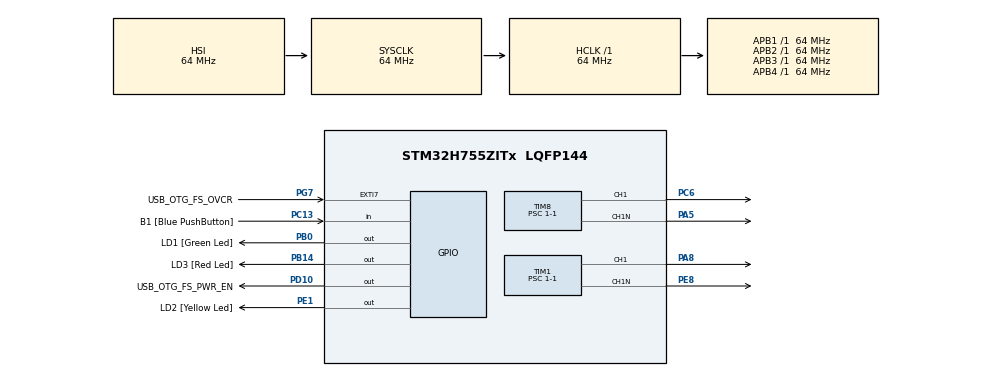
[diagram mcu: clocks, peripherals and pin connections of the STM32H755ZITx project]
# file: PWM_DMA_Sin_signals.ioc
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CortexM4.IPs=FATFS_M4\:I,FREERTOS_M4\:I,IWDG2\:I,RCC,WWDG2\:I,DMA,BDMA,MDMA,NVIC2\:I,DEBUG,USB_DEVICE_M4\:I,USB_HOST_M4\:I,PDM2PCM_M4\:I,PWR,RESMGR_UTILITY,SYS_M4\:I,CORTEX_M4\:I,OPENAMP_M4\:I,VREFBUF,GPIO
CortexM7.IPs=FATFS_M7\:I,FREERTOS_M7\:I,IWDG1\:I,RCC\:I,WWDG1\:I,DMA\:I,BDMA\:I,MDMA\:I,NVIC1\:I,SYS\:I,CORTEX_M7\:I,DEBUG\:I,USB_DEVICE_M7\:I,USB_HOST_M7\:I,PDM2PCM_M7\:I,PWR\:I,RESMGR_UTILITY\:I,OPENAMP_M7\:I,VREFBUF\:I,GPIO\:I,TIM1\:I,TIM8\:I
Dma.Request0=TIM1_CH1
Dma.TIM1_CH1.0.Direction=DMA_MEMORY_TO_PERIPH
Dma.TIM1_CH1.0.EventEnable=DISABLE
Dma.TIM1_CH1.0.FIFOMode=DMA_FIFOMODE_ENABLE
Dma.TIM1_CH1.0.FIFOThreshold=DMA_FIFO_THRESHOLD_FULL
Dma.TIM1_CH1.0.Instance=DMA1_Stream1
Dma.TIM1_CH1.0.MemBurst=DMA_MBURST_SINGLE
Dma.TIM1_CH1.0.MemDataAlignment=DMA_MDATAALIGN_WORD
Dma.TIM1_CH1.0.MemInc=DMA_MINC_ENABLE
Dma.TIM1_CH1.0.Mode=DMA_CIRCULAR
Dma.TIM1_CH1.0.PeriphBurst=DMA_PBURST_SINGLE
Dma.TIM1_CH1.0.PeriphDataAlignment=DMA_PDATAALIGN_WORD
Dma.TIM1_CH1.0.PeriphInc=DMA_PINC_DISABLE
Dma.TIM1_CH1.0.Polarity=HAL_DMAMUX_REQ_GEN_RISING
Dma.TIM1_CH1.0.Priority=DMA_PRIORITY_LOW
Dma.TIM1_CH1.0.RequestNumber=1
Dma.TIM1_CH1.0.SignalID=NONE
Dma.TIM1_CH1.0.SyncEnable=DISABLE
Dma.TIM1_CH1.0.SyncPolarity=HAL_DMAMUX_SYNC_NO_EVENT
Dma.TIM1_CH1.0.SyncRequestNumber=1
Dma.TIM1_CH1.0.SyncSignalID=NONE
Mcu.Family=STM32H7
Mcu.Name=STM32H755ZITx
Mcu.Package=LQFP144
NVIC1.DMA1_Stream1_IRQn=true\:0\:0\:false\:false\:true\:false\:true\:true
NVIC1.PriorityGroup=NVIC_PRIORITYGROUP_4
NVIC2.PriorityGroup=NVIC_PRIORITYGROUP_4
PA1.PinAttribute=CortexM4
PA1.Signal=ETH_REF_CLK
PA11.PinAttribute=CortexM7
PA11.Signal=USB_OTG_FS_DM
PA12.PinAttribute=CortexM7
PA12.Signal=USB_OTG_FS_DP
PA2.PinAttribute=CortexM4
PA2.Signal=ETH_MDIO
PA5.Mode=PWM Generation1 CH1 CH1N
PA5.PinAttribute=CortexM7
PA5.Signal=TIM8_CH1N
PA7.PinAttribute=CortexM4
PA7.Signal=ETH_CRS_DV
PA8.PinAttribute=CortexM7
PA8.Signal=S_TIM1_CH1
PA9.PinAttribute=CortexM7
PA9.Signal=USB_OTG_FS_VBUS
PB0.GPIO_Label=LD1 [Green Led]
PB0.PinAttribute=Free
PB0.Signal=GPIO_Output
PB13.PinAttribute=CortexM4
PB13.Signal=ETH_TXD1
PB14.GPIO_Label=LD3 [Red Led]
PB14.PinAttribute=Free
PB14.Signal=GPIO_Output
PC1.PinAttribute=CortexM4
PC1.Signal=ETH_MDC
PC13.GPIO_Label=B1 [Blue PushButton]
PC13.PinAttribute=Free
PC13.Signal=GPIO_Input
PC14-OSC32_IN\ (OSC32_IN).Mode=LSE-External-Oscillator
PC14-OSC32_IN\ (OSC32_IN).PinAttribute=CortexM7
PC14-OSC32_IN\ (OSC32_IN).Signal=RCC_OSC32_IN
PC15-OSC32_OUT\ (OSC32_OUT).Mode=LSE-External-Oscillator
PC15-OSC32_OUT\ (OSC32_OUT).PinAttribute=CortexM7
PC15-OSC32_OUT\ (OSC32_OUT).Signal=RCC_OSC32_OUT
PC4.PinAttribute=CortexM4
PC4.Signal=ETH_RXD0
PC5.PinAttribute=CortexM4
PC5.Signal=ETH_RXD1
PC6.PinAttribute=CortexM7
PC6.Signal=S_TIM8_CH1
PD10.GPIO_Label=USB_OTG_FS_PWR_EN
PD10.PinAttribute=Free
PD10.Signal=GPIO_Output
PD8.GPIO_Label=STLINK_RX
PD8.PinAttribute=CortexM4
PD8.Signal=USART3_TX
PD9.GPIO_Label=STLINK_TX
PD9.PinAttribute=CortexM4
PD9.Signal=USART3_RX
PE1.GPIO_Label=LD2 [Yellow Led]
PE1.PinAttribute=Free
PE1.Signal=GPIO_Output
PE8.Mode=PWM Generation1 CH1 CH1N
PE8.PinAttribute=CortexM7
PE8.Signal=TIM1_CH1N
PG11.PinAttribute=CortexM4
PG11.Signal=ETH_TX_EN
PG13.PinAttribute=CortexM4
PG13.Signal=ETH_TXD0
PG7.GPIO_Label=USB_OTG_FS_OVCR
PG7.PinAttribute=Free
PG7.Signal=GPXTI7
PH0-OSC_IN\ (PH0).Mode=HSE-External-Clock-Source
PH0-OSC_IN\ (PH0).PinAttribute=CortexM7
PH0-OSC_IN\ (PH0).Signal=RCC_OSC_IN
PH1-OSC_OUT\ (PH1).PinAttribute=CortexM7
PH1-OSC_OUT\ (PH1).Signal=RCC_OSC_OUT
ProjectManager.HeapSize=M4-0x200,M7-0x200
ProjectManager.StackSize=M4-0x400,M7-0x400
ProjectManager.TargetToolchain=STM32CubeIDE
RCC.ADCFreq_Value=16125000
RCC.APB1Freq_Value=64000000
RCC.APB2Freq_Value=64000000
RCC.APB3Freq_Value=64000000
RCC.APB4Freq_Value=64000000
RCC.CortexFreq_Value=64000000
RCC.DIVM1=1
RCC.DIVN1=24
RCC.DIVQ1=4
RCC.HCLKFreq_Value=64000000
RCC.HSE_VALUE=8000000
RCC.PLL2FRACN=0
RCC.PLL3FRACN=0
RCC.PLLFRACN=0
RCC.PLLSourceVirtual=RCC_PLLSOURCE_HSE
RCC.PWR_Regulator_Voltage_Scale=PWR_REGULATOR_VOLTAGE_SCALE2
RCC.SYSCLKFreq_VALUE=64000000
RCC.SupplySource=PWR_DIRECT_SMPS_SUPPLY
RCC.USBFreq_Value=48000000
SH.S_TIM1_CH1.0=TIM1_CH1,PWM Generation1 CH1 CH1N
SH.S_TIM8_CH1.0=TIM8_CH1,PWM Generation1 CH1 CH1N
TIM1.AutoReloadPreload=TIM_AUTORELOAD_PRELOAD_ENABLE
TIM1.Channel-Output\ Compare2\ No\ Output=TIM_CHANNEL_2
TIM1.Channel-PWM\ Generation1\ CH1\ CH1N=TIM_CHANNEL_1
TIM1.CounterMode=TIM_COUNTERMODE_CENTERALIGNED1
TIM1.OCMode_2=TIM_OCMODE_ACTIVE
TIM1.Period=30000
TIM1.Prescaler=1-1
TIM1.Pulse-PWM\ Generation1\ CH1\ CH1N=1
TIM1.TIM_MasterOutputTrigger=TIM_TRGO_OC2REF
TIM8.AutoReloadPreload=TIM_AUTORELOAD_PRELOAD_ENABLE
TIM8.Channel-PWM\ Generation1\ CH1\ CH1N=TIM_CHANNEL_1
TIM8.Prescaler=1-1
TIM8.Pulse-PWM\ Generation1\ CH1\ CH1N=1
VP_SYS_M4_VS_Systick.Mode=SysTick
VP_TIM1_VS_no_output2.Mode=Output Compare2 No Output
VP_TIM8_VS_ClockSourceITR.Mode=TriggerSource_ITR0
VP_TIM8_VS_ControllerModeTrigger.Mode=Trigger Mode
board=NUCLEO-H755ZI-Q

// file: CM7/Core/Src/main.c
/* USER CODE BEGIN Header */
/**
 ******************************************************************************
 * @file           : main.c
 * @brief          : Main program body
 ******************************************************************************
 * @attention
 *
 * Copyright (c) 2024 STMicroelectronics.
 * All rights reserved.
 *
 * This software is licensed under terms that can be found in the LICENSE file
 * in the root directory of this software component.
 * If no LICENSE file comes with this software, it is provided AS-IS.
 *
 ******************************************************************************
 */
/* USER CODE END Header */
#include "main.h"

/* USER CODE BEGIN PD */

#ifndef HSEM_ID_0
#define HSEM_ID_0 (0U) /* HW semaphore 0*/
#endif

/* USER CODE END PD */

TIM_HandleTypeDef htim1;
TIM_HandleTypeDef htim8;
DMA_HandleTypeDef hdma_tim1_ch1;

/* USER CODE BEGIN PV */
#define CCRValue_BufferSize     37

ALIGN_32BYTES (uint32_t DiscontinuousSineCCRValue_Buffer[CCRValue_BufferSize]) =
{
		14999, 17603, 20128, 22498, 24640, 26488, 27988, 29093, 29770,
		29998, 29770, 29093, 27988, 26488, 24640, 22498, 20128, 17603,
		14999, 12394, 9869, 7499, 5357, 3509, 2009, 904, 227, 1, 227,
		904, 2009, 3509, 5357, 7499, 9869, 12394, 14999
};

//ALIGN_32BYTES (uint32_t DiscontinuousSineCCRValue_Buffer_2[CCRValue_BufferSize]) =
//{
//		(14999/2), (17603/2), (20128/2), (22498/2), (24640/2), (26488/2), (27988/2), (29093/2), (29770/2),
//		(29998/2), (29770/2), (29093/2), (27988/2), (26488/2), (24640/2), (22498/2), (20128/2), (17603/2),
//		(14999/2), (12394/2), (9869/2), (7499/2), (5357/2), (3509/2), (2009/2), (904/2), (227/2), (1/2), (227/2),
//		(904/2), (2009/2), (3509/2), (5357/2), (7499/2), (9869/2), (12394/2), (14999/2)
//};

ALIGN_32BYTES (uint32_t DiscontinuousSineCCRValue_Buffer_2[CCRValue_BufferSize]) =
{
    7499, 8801, 10064, 11249, 12320, 13244, 13994, 14546, 14885,
    14999, 14885, 14546, 13994, 13244, 12320, 11249, 10064, 8801,
    7499, 6197, 4934, 3749, 2678, 1754, 1004, 452, 113, 1, 113,
    452, 1004, 1754, 2678, 3749, 4934, 6197, 7499
};

ALIGN_32BYTES (uint32_t DiscontinuousSineCCRValue_Buffer_3[CCRValue_BufferSize]) =
{
		(14999/3.46875), (17603/3.46875), (20128/3.46875), (22498/3.46875), (24640/3.46875), (26488/3.46875), (27988/3.46875), (29093/3.46875), (29770/3.46875),
		(29998/3.46875), (29770/3.46875), (29093/3.46875), (27988/3.46875), (26488/3.46875), (24640/3.46875), (22498/3.46875), (20128/3.46875), (17603/3.46875),
		(14999/3.46875), (12394/3.46875), (9869/3.46875), (7499/3.46875), (5357/3.46875), (3509/3.46875), (2009/3.46875), (904/3.46875), (227/3.46875), 1, (227/3.46875),
		(904/3.46875), (2009/3.46875), (3509/3.46875), (5357/3.46875), (7499/3.46875), (9869/3.46875), (12394/3.46875), (14999/3.46875)
};
/* USER CODE END PV */

void SystemClock_Config(void);
static void MX_GPIO_Init(void);
static void MX_DMA_Init(void);
static void MX_TIM1_Init(void);
static void MX_TIM8_Init(void);

int main(void)
{
  /* USER CODE BEGIN 1 */
	/*Enable I-Cache---------------------------------------------------------*/
	SCB_EnableICache();

	/* Enable D-Cache---------------------------------------------------------*/
	SCB_EnableDCache();
  /* USER CODE END 1 */
/* USER CODE BEGIN Boot_Mode_Sequence_0 */
	int32_t timeout;
/* USER CODE END Boot_Mode_Sequence_0 */

/* USER CODE BEGIN Boot_Mode_Sequence_1 */
	/* Wait until CPU2 boots and enters in stop mode or timeout*/
	timeout = 0xFFFF;
	while((__HAL_RCC_GET_FLAG(RCC_FLAG_D2CKRDY) != RESET) && (timeout-- > 0));
	if ( timeout < 0 )
	{
		Error_Handler();
	}
/* USER CODE END Boot_Mode_Sequence_1 */
  /* MCU Configuration--------------------------------------------------------*/

  /* Reset of all peripherals, Initializes the Flash interface and the Systick. */
  HAL_Init();

  /* USER CODE BEGIN Init */

	/* Clean Data Cache to update the content of the SRAM to be used by the DMA */
	SCB_CleanDCache_by_Addr((uint32_t *) DiscontinuousSineCCRValue_Buffer_3, CCRValue_BufferSize );
	//SCB_CleanDCache_by_Addr((uint32_t *) DiscontinuousSineCCRValue_Buffer_2, CCRValue_BufferSize );

  /* USER CODE END Init */

  /* Configure the system clock */
  SystemClock_Config();
/* USER CODE BEGIN Boot_Mode_Sequence_2 */
	/* When system initialization is finished, Cortex-M7 will release Cortex-M4 by means of
HSEM notification */
	/*HW semaphore Clock enable*/
	__HAL_RCC_HSEM_CLK_ENABLE();
	/*Take HSEM */
	HAL_HSEM_FastTake(HSEM_ID_0);
	/*Release HSEM in order to notify the CPU2(CM4)*/
	HAL_HSEM_Release(HSEM_ID_0,0);
	/* wait until CPU2 wakes up from stop mode */
	timeout = 0xFFFF;
	while((__HAL_RCC_GET_FLAG(RCC_FLAG_D2CKRDY) == RESET) && (timeout-- > 0));
	if ( timeout < 0 )
	{
		Error_Handler();
	}
/* USER CODE END Boot_Mode_Sequence_2 */

  /* Initialize all configured peripherals */
  MX_GPIO_Init();
  MX_DMA_Init();
  MX_TIM1_Init();
  MX_TIM8_Init();
  /* USER CODE BEGIN 2 */

	//HAL_TIM_PWM_Start_DMA(&htim4, TIM_CHANNEL_1, DiscontinuousSineCCRValue_Buffer_2, CCRValue_BufferSize);
	HAL_TIM_PWM_Start_DMA(&htim1, TIM_CHANNEL_1, DiscontinuousSineCCRValue_Buffer_3, CCRValue_BufferSize);
	//HAL_TIMEx_PWMN_Start_DMA(&htim1, TIM_CHANNEL_1, DiscontinuousSineCCRValue_Buffer_3, CCRValue_BufferSize);
	HAL_TIMEx_PWMN_Start(&htim1, TIM_CHANNEL_1);

	HAL_TIM_PWM_Start(&htim8, TIM_CHANNEL_1);

	TIM8-> ARR = 8648; //8648.64864865
	TIM1-> ARR = 8648; //8648.64864865

  /* USER CODE END 2 */

  /* Infinite loop */
	while (1)
	{

	}
}

void SystemClock_Config(void)
{
  RCC_OscInitTypeDef RCC_OscInitStruct = {0};
  RCC_ClkInitTypeDef RCC_ClkInitStruct = {0};

  /** Supply configuration update enable
  */
  HAL_PWREx_ConfigSupply(PWR_DIRECT_SMPS_SUPPLY);

  /** Configure the main internal regulator output voltage
  */
  __HAL_PWR_VOLTAGESCALING_CONFIG(PWR_REGULATOR_VOLTAGE_SCALE2);

  while(!__HAL_PWR_GET_FLAG(PWR_FLAG_VOSRDY)) {}

  /** Initializes the RCC Oscillators according to the specified parameters
  * in the RCC_OscInitTypeDef structure.
  */
  RCC_OscInitStruct.OscillatorType = RCC_OSCILLATORTYPE_HSI;
  RCC_OscInitStruct.HSIState = RCC_HSI_DIV1;
  RCC_OscInitStruct.HSICalibrationValue = RCC_HSICALIBRATION_DEFAULT;
  RCC_OscInitStruct.PLL.PLLState = RCC_PLL_NONE;
  if (HAL_RCC_OscConfig(&RCC_OscInitStruct) != HAL_OK)
  {
    Error_Handler();
  }

  /** Initializes the CPU, AHB and APB buses clocks
  */
  RCC_ClkInitStruct.ClockType = RCC_CLOCKTYPE_HCLK|RCC_CLOCKTYPE_SYSCLK
                              |RCC_CLOCKTYPE_PCLK1|RCC_CLOCKTYPE_PCLK2
                              |RCC_CLOCKTYPE_D3PCLK1|RCC_CLOCKTYPE_D1PCLK1;
  RCC_ClkInitStruct.SYSCLKSource = RCC_SYSCLKSOURCE_HSI;
  RCC_ClkInitStruct.SYSCLKDivider = RCC_SYSCLK_DIV1;
  RCC_ClkInitStruct.AHBCLKDivider = RCC_HCLK_DIV1;
  RCC_ClkInitStruct.APB3CLKDivider = RCC_APB3_DIV1;
  RCC_ClkInitStruct.APB1CLKDivider = RCC_APB1_DIV1;
  RCC_ClkInitStruct.APB2CLKDivider = RCC_APB2_DIV1;
  RCC_ClkInitStruct.APB4CLKDivider = RCC_APB4_DIV1;

  if (HAL_RCC_ClockConfig(&RCC_ClkInitStruct, FLASH_LATENCY_1) != HAL_OK)
  {
    Error_Handler();
  }
}

static void MX_TIM1_Init(void)
{

  TIM_MasterConfigTypeDef sMasterConfig = {0};
  TIM_OC_InitTypeDef sConfigOC = {0};
  TIM_BreakDeadTimeConfigTypeDef sBreakDeadTimeConfig = {0};

  htim1.Instance = TIM1;
  htim1.Init.Prescaler = 1-1;
  htim1.Init.CounterMode = TIM_COUNTERMODE_CENTERALIGNED1;
  htim1.Init.Period = 30000;
  htim1.Init.ClockDivision = TIM_CLOCKDIVISION_DIV1;
  htim1.Init.RepetitionCounter = 0;
  htim1.Init.AutoReloadPreload = TIM_AUTORELOAD_PRELOAD_ENABLE;
  if (HAL_TIM_PWM_Init(&htim1) != HAL_OK)
  {
    Error_Handler();
  }
  if (HAL_TIM_OC_Init(&htim1) != HAL_OK)
  {
    Error_Handler();
  }
  sMasterConfig.MasterOutputTrigger = TIM_TRGO_OC2REF;
  sMasterConfig.MasterOutputTrigger2 = TIM_TRGO2_RESET;
  sMasterConfig.MasterSlaveMode = TIM_MASTERSLAVEMODE_DISABLE;
  if (HAL_TIMEx_MasterConfigSynchronization(&htim1, &sMasterConfig) != HAL_OK)
  {
    Error_Handler();
  }
  sConfigOC.OCMode = TIM_OCMODE_PWM1;
  sConfigOC.Pulse = 1;
  sConfigOC.OCPolarity = TIM_OCPOLARITY_HIGH;
  sConfigOC.OCNPolarity = TIM_OCNPOLARITY_HIGH;
  sConfigOC.OCFastMode = TIM_OCFAST_DISABLE;
  sConfigOC.OCIdleState = TIM_OCIDLESTATE_RESET;
  sConfigOC.OCNIdleState = TIM_OCNIDLESTATE_RESET;
  if (HAL_TIM_PWM_ConfigChannel(&htim1, &sConfigOC, TIM_CHANNEL_1) != HAL_OK)
  {
    Error_Handler();
  }
  sConfigOC.OCMode = TIM_OCMODE_ACTIVE;
  sConfigOC.Pulse = 0;
  if (HAL_TIM_OC_ConfigChannel(&htim1, &sConfigOC, TIM_CHANNEL_2) != HAL_OK)
  {
    Error_Handler();
  }
  sBreakDeadTimeConfig.OffStateRunMode = TIM_OSSR_DISABLE;
  sBreakDeadTimeConfig.OffStateIDLEMode = TIM_OSSI_DISABLE;
  sBreakDeadTimeConfig.LockLevel = TIM_LOCKLEVEL_OFF;
  sBreakDeadTimeConfig.DeadTime = 0;
  sBreakDeadTimeConfig.BreakState = TIM_BREAK_DISABLE;
  sBreakDeadTimeConfig.BreakPolarity = TIM_BREAKPOLARITY_HIGH;
  sBreakDeadTimeConfig.BreakFilter = 0;
  sBreakDeadTimeConfig.Break2State = TIM_BREAK2_DISABLE;
  sBreakDeadTimeConfig.Break2Polarity = TIM_BREAK2POLARITY_HIGH;
  sBreakDeadTimeConfig.Break2Filter = 0;
  sBreakDeadTimeConfig.AutomaticOutput = TIM_AUTOMATICOUTPUT_DISABLE;
  if (HAL_TIMEx_ConfigBreakDeadTime(&htim1, &sBreakDeadTimeConfig) != HAL_OK)
  {
    Error_Handler();
  }
  HAL_TIM_MspPostInit(&htim1);

}

static void MX_TIM8_Init(void)
{

  TIM_SlaveConfigTypeDef sSlaveConfig = {0};
  TIM_MasterConfigTypeDef sMasterConfig = {0};
  TIM_OC_InitTypeDef sConfigOC = {0};
  TIM_BreakDeadTimeConfigTypeDef sBreakDeadTimeConfig = {0};

  htim8.Instance = TIM8;
  htim8.Init.Prescaler = 1-1;
  htim8.Init.CounterMode = TIM_COUNTERMODE_UP;
  htim8.Init.Period = 65535;
  htim8.Init.ClockDivision = TIM_CLOCKDIVISION_DIV1;
  htim8.Init.RepetitionCounter = 0;
  htim8.Init.AutoReloadPreload = TIM_AUTORELOAD_PRELOAD_ENABLE;
  if (HAL_TIM_Base_Init(&htim8) != HAL_OK)
  {
    Error_Handler();
  }
  if (HAL_TIM_PWM_Init(&htim8) != HAL_OK)
  {
    Error_Handler();
  }
  sSlaveConfig.SlaveMode = TIM_SLAVEMODE_TRIGGER;
  sSlaveConfig.InputTrigger = TIM_TS_ITR0;
  if (HAL_TIM_SlaveConfigSynchro(&htim8, &sSlaveConfig) != HAL_OK)
  {
    Error_Handler();
  }
  sMasterConfig.MasterOutputTrigger = TIM_TRGO_RESET;
  sMasterConfig.MasterOutputTrigger2 = TIM_TRGO2_RESET;
  sMasterConfig.MasterSlaveMode = TIM_MASTERSLAVEMODE_DISABLE;
  if (HAL_TIMEx_MasterConfigSynchronization(&htim8, &sMasterConfig) != HAL_OK)
  {
    Error_Handler();
  }
  sConfigOC.OCMode = TIM_OCMODE_PWM1;
  sConfigOC.Pulse = 1;
  sConfigOC.OCPolarity = TIM_OCPOLARITY_HIGH;
  sConfigOC.OCNPolarity = TIM_OCNPOLARITY_HIGH;
  sConfigOC.OCFastMode = TIM_OCFAST_DISABLE;
  sConfigOC.OCIdleState = TIM_OCIDLESTATE_RESET;
  sConfigOC.OCNIdleState = TIM_OCNIDLESTATE_RESET;
  if (HAL_TIM_PWM_ConfigChannel(&htim8, &sConfigOC, TIM_CHANNEL_1) != HAL_OK)
  {
    Error_Handler();
  }
  sBreakDeadTimeConfig.OffStateRunMode = TIM_OSSR_DISABLE;
  sBreakDeadTimeConfig.OffStateIDLEMode = TIM_OSSI_DISABLE;
  sBreakDeadTimeConfig.LockLevel = TIM_LOCKLEVEL_OFF;
  sBreakDeadTimeConfig.DeadTime = 0;
  sBreakDeadTimeConfig.BreakState = TIM_BREAK_DISABLE;
  sBreakDeadTimeConfig.BreakPolarity = TIM_BREAKPOLARITY_HIGH;
  sBreakDeadTimeConfig.BreakFilter = 0;
  sBreakDeadTimeConfig.Break2State = TIM_BREAK2_DISABLE;
  sBreakDeadTimeConfig.Break2Polarity = TIM_BREAK2POLARITY_HIGH;
  sBreakDeadTimeConfig.Break2Filter = 0;
  sBreakDeadTimeConfig.AutomaticOutput = TIM_AUTOMATICOUTPUT_DISABLE;
  if (HAL_TIMEx_ConfigBreakDeadTime(&htim8, &sBreakDeadTimeConfig) != HAL_OK)
  {
    Error_Handler();
  }
  HAL_TIM_MspPostInit(&htim8);

}

static void MX_DMA_Init(void)
{

  /* DMA controller clock enable */
  __HAL_RCC_DMA1_CLK_ENABLE();

  /* DMA interrupt init */
  /* DMA1_Stream1_IRQn interrupt configuration */
  HAL_NVIC_SetPriority(DMA1_Stream1_IRQn, 0, 0);
  HAL_NVIC_EnableIRQ(DMA1_Stream1_IRQn);

}

static void MX_GPIO_Init(void)
{

  /* GPIO Ports Clock Enable */
  __HAL_RCC_GPIOC_CLK_ENABLE();
  __HAL_RCC_GPIOH_CLK_ENABLE();
  __HAL_RCC_GPIOA_CLK_ENABLE();
  __HAL_RCC_GPIOE_CLK_ENABLE();

}

void Error_Handler(void)
{
	__disable_irq();
	while (1)
	{
	}
}
